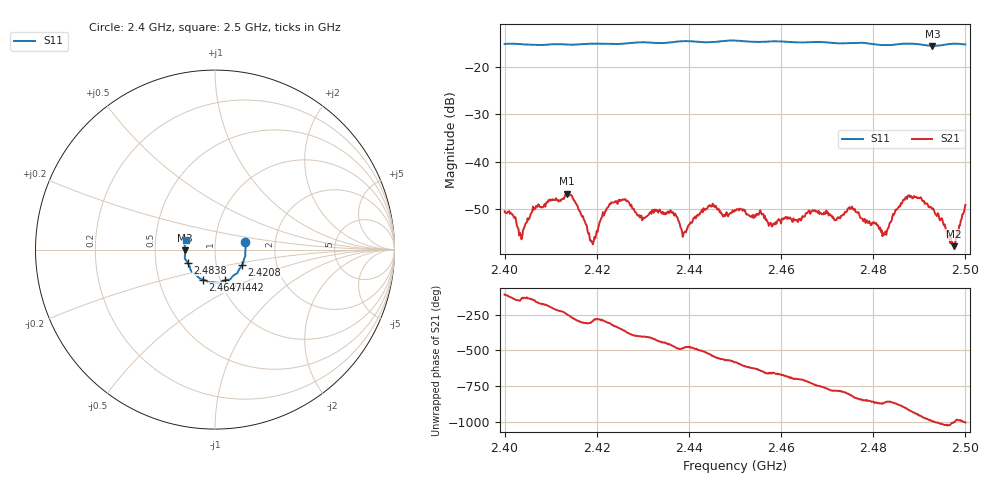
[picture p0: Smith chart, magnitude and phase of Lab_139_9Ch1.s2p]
# Hz S RI R 50
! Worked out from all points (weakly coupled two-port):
!   601 points, 2.4 GHz to 2.5 GHz, reference 50 ohm
!   highest |S21| = -46.68 dB at 2.4135 GHz (marker M1); lowest = -57.7 dB at 2.4975 GHz (marker M2)
!   lowest |S11| = -15.6 dB at 2.4928 GHz (marker M3), VSWR 1.40, Z = 35.8 - j0.367 ohm
!   |S11| at or under -10 dB: start of sweep to end of sweep
!   S12 and S22 are empty: the file has one direction only
!   S11 on the Smith chart (normalised r, x): 2.4 GHz: 1.40, +0.12; 2.4208 GHz: 1.33, -0.24; 2.4442 GHz: 1.05, -0.37; 2.4647 GHz: 0.83, -0.29; 2.4838 GHz: 0.73, -0.11; 2.5 GHz: 0.72, +0.08
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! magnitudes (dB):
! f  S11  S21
! 2.4 GHz  -15.2  -50.4
! 2.4037 GHz  -15.3  -56.3
! 2.4065 GHz  -15.4  -49.8
! 2.4135 GHz  -15.3  -46.7
! 2.4167 GHz  -15.3  -51.2
! 2.419 GHz  -15.2  -57.0
! 2.4208 GHz  -15.2  -52.3
! 2.4257 GHz  -15.2  -47.9
! 2.4298 GHz  -14.9  -52.3
! 2.4333 GHz  -15.0  -50.7
! 2.439 GHz  -14.6  -54.8
! 2.4442 GHz  -14.9  -49.4
! 2.45 GHz  -14.5  -50.1
! 2.4647 GHz  -14.9  -51.4
! 2.4667 GHz  -14.8  -50.4
! 2.4752 GHz  -15.0  -49.9
! 2.4833 GHz  -15.5  -53.9
! 2.4838 GHz  -15.4  -52.6
! 2.4875 GHz  -15.1  -47.1
! 2.4928 GHz  -15.6  -49.9
! 2.4975 GHz  -15.2  -57.7
! 2.5 GHz  -15.3  -49.1
